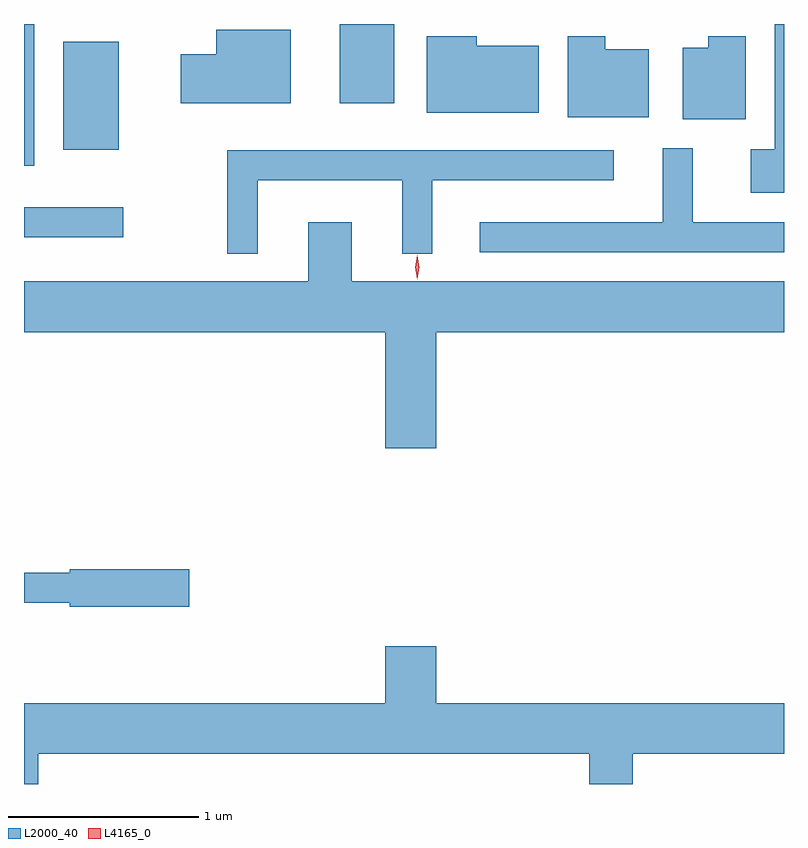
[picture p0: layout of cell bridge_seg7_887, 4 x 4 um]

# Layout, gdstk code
import gdstk
lib = gdstk.Library(unit=1e-6, precision=1e-09)
def R(c, l, rs):  # rectangles x0, y0, x1, y1
    for r in rs: c.add(gdstk.rectangle(r[:2], r[2:], *l))
def P(c, l, *ps):  # polygons
    for p in ps: c.add(gdstk.Polygon(p, *l))
L2000_40 = (2000, 40)
L4165_0 = (4165, 0)

bridge_seg7_887 = lib.new_cell('bridge_seg7_887')
R(bridge_seg7_887, L2000_40, [(452.935,1719.256,453.458,1719.414), (452.935,1719.631,452.989,1720.378), (453.141,1719.716,453.434,1720.284), (454.596,1719.961,454.884,1720.378)])
P(bridge_seg7_887, L2000_40, [(456.935,1720.378),(456.886,1720.378),(456.886,1719.719),(456.761,1719.719),(456.761,1719.491),(456.935,1719.491)],
  [(454.339,1720.349),(453.946,1720.349),(453.946,1720.219),(453.761,1720.219),(453.761,1719.961),(454.339,1719.961)],
  [(456.734,1720.314),(456.536,1720.314),(456.536,1720.254),(456.401,1720.254),(456.401,1719.876),(456.734,1719.876)],
  [(456.224,1720.244),(455.994,1720.244),(455.994,1720.314),(455.796,1720.314),(455.796,1719.886),(456.224,1719.886)],
  [(455.644,1720.264),(455.319,1720.264),(455.319,1720.314),(455.056,1720.314),(455.056,1719.911),(455.644,1719.911)],
  [(456.935,1719.334),(456.454,1719.334),(456.454,1719.723),(456.296,1719.723),(456.296,1719.334),(455.333,1719.334),(455.333,1719.176),(456.935,1719.176)],
  [(454.164,1719.556),(454.926,1719.556),(454.926,1719.168),(455.084,1719.168),(455.084,1719.556),(456.038,1719.556),(456.038,1719.714),(454.006,1719.714),(454.006,1719.168),(454.164,1719.168)],
  [(455.104,1718.756),(456.935,1718.756),(456.935,1719.024),(454.659,1719.024),(454.659,1719.334),(454.431,1719.334),(454.431,1719.024),(452.935,1719.024),(452.935,1718.756),(454.836,1718.756),(454.836,1718.146),(455.104,1718.146)],
  [(453.804,1717.509),(453.176,1717.509),(453.176,1717.489),(452.935,1717.489),(452.935,1717.331),(453.176,1717.331),(453.176,1717.311),(453.804,1717.311)],
  [(453.009,1716.536),(455.911,1716.536),(455.911,1716.378),(456.139,1716.378),(456.139,1716.536),(456.935,1716.536),(456.935,1716.804),(455.104,1716.804),(455.104,1717.104),(454.836,1717.104),(454.836,1716.804),(452.935,1716.804),(452.935,1716.378),(453.009,1716.378)])
P(bridge_seg7_887, L4165_0, [(455.006,1719.035),(455.005,1719.036),(454.995,1719.098),(455.005,1719.161),(455.005,1719.162),(455.006,1719.161),(455.016,1719.098),(455.006,1719.036)])

lib.write_gds('bridge_seg7_887.gds')
